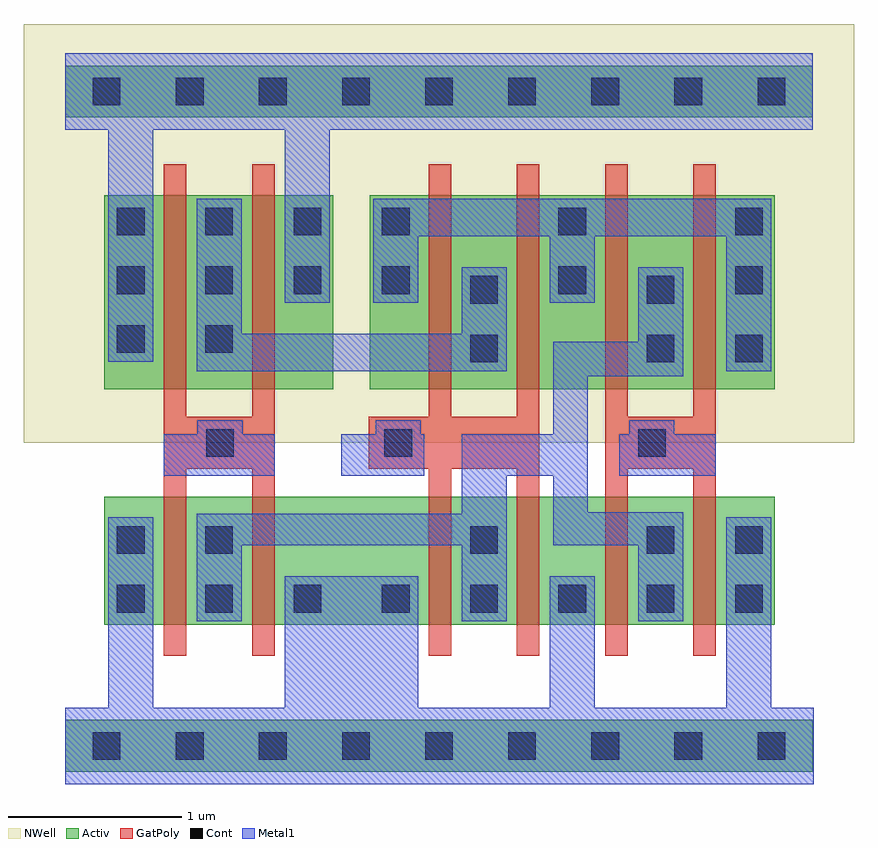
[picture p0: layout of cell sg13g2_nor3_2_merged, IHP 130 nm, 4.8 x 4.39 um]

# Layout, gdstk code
import gdstk
lib = gdstk.Library(unit=1e-6, precision=1e-09)
def R(c, l, rs):  # rectangles x0, y0, x1, y1
    for r in rs: c.add(gdstk.rectangle(r[:2], r[2:], *l))
def A(c, l, x, y, w, h, nx, ny, dx, dy):  # array of equal rectangles
    R(c, l, [(x+i*dx, y+j*dy, x+i*dx+w, y+j*dy+h) for i in range(nx) for j in range(ny)])
def P(c, l, *ps):  # polygons
    for p in ps: c.add(gdstk.Polygon(p, *l))
Activ = (1, 0)
GatPoly = (5, 0)
Cont = (6, 0)
Metal1 = (8, 0)
NWell = (31, 0)

sg13g2_nor3_2_merged = lib.new_cell('sg13g2_nor3_2_merged')
R(sg13g2_nor3_2_merged, Activ, [(0,-0.15,4.32,0.15), (0.225,0.7,4.1,1.44), (0.225,2.06,1.55,3.18), (1.76,2.06,4.1,3.18), (0,3.63,4.32,3.93)])
P(sg13g2_nor3_2_merged, GatPoly, [(0.57,0.52),(0.57,3.36),(0.7,3.36),(0.7,1.9),(1.08,1.9),(1.08,3.36),(1.21,3.36),(1.21,0.52),(1.08,0.52),(1.08,1.6),(0.7,1.6),(0.7,0.52)],
  [(2.1,0.52),(2.1,1.6),(1.755,1.6),(1.755,1.9),(2.1,1.9),(2.1,3.36),(2.23,3.36),(2.23,1.9),(2.61,1.9),(2.61,3.36),(2.74,3.36),(2.74,0.52),(2.61,0.52),(2.61,1.6),(2.23,1.6),(2.23,0.52)],
  [(3.12,0.52),(3.12,3.36),(3.25,3.36),(3.25,1.9),(3.63,1.9),(3.63,3.36),(3.76,3.36),(3.76,0.52),(3.63,0.52),(3.63,1.6),(3.25,1.6),(3.25,0.52)])
A(sg13g2_nor3_2_merged, Cont, 0.16, -0.08, 0.16, 0.16, 9, 2, 0.48, 3.78)
A(sg13g2_nor3_2_merged, Cont, 0.3, 0.77, 0.16, 0.16, 8, 1, 0.51, 0)
A(sg13g2_nor3_2_merged, Cont, 0.3, 2.61, 0.16, 0.16, 4, 2, 0.51, 0.34)
R(sg13g2_nor3_2_merged, Cont, [(0.3,1.11,0.46,1.27), (0.81,1.11,0.97,1.27), (2.34,1.11,2.5,1.27), (3.36,1.11,3.52,1.27), (3.87,1.11,4.03,1.27), (0.815,1.67,0.975,1.83), (1.845,1.67,2.005,1.83), (3.31,1.67,3.47,1.83), (2.34,2.215,2.5,2.375), (3.36,2.215,3.52,2.375), (3.87,2.215,4.03,2.375), (0.3,2.27,0.46,2.43), (0.81,2.27,0.97,2.43), (2.34,2.555,2.5,2.715), (3.36,2.555,3.52,2.715), (2.85,2.61,3.01,2.77), (3.87,2.61,4.03,2.77), (2.85,2.95,3.01,3.11), (3.87,2.95,4.03,3.11)])
P(sg13g2_nor3_2_merged, Metal1, [(0,-0.22),(0,0.22),(0.25,0.22),(0.25,1.32),(0.51,1.32),(0.51,0.22),(1.27,0.22),(1.27,0.98),(2.04,0.98),(2.04,0.22),(2.8,0.22),(2.8,0.98),(3.06,0.98),(3.06,0.22),(3.82,0.22),(3.82,1.32),(4.08,1.32),(4.08,0.22),(4.325,0.22),(4.325,-0.22)],
  [(0.57,1.56),(0.57,1.8),(0.765,1.8),(0.765,1.88),(1.025,1.88),(1.025,1.8),(1.21,1.8),(1.21,1.56)],
  [(1.595,1.56),(1.595,1.8),(1.795,1.8),(1.795,1.88),(2.055,1.88),(2.055,1.8),(2.075,1.8),(2.075,1.56)],
  [(3.2,1.56),(3.2,1.8),(3.26,1.8),(3.26,1.88),(3.52,1.88),(3.52,1.8),(3.76,1.8),(3.76,1.56)],
  [(0.76,0.72),(0.76,1.34),(2.29,1.34),(2.29,1.8),(2.82,1.8),(2.82,2.335),(3.31,2.335),(3.31,2.765),(3.57,2.765),(3.57,2.135),(3.02,2.135),(3.02,1.35),(3.57,1.35),(3.57,0.72),(3.31,0.72),(3.31,1.16),(2.82,1.16),(2.82,1.56),(2.55,1.56),(2.55,0.72),(2.29,0.72),(2.29,1.16),(1.02,1.16),(1.02,0.72)],
  [(0.76,2.165),(0.76,3.16),(1.02,3.16),(1.02,2.38),(2.29,2.38),(2.29,2.765),(2.55,2.765),(2.55,2.165)],
  [(3.82,2.165),(3.82,2.945),(3.06,2.945),(3.06,2.56),(2.8,2.56),(2.8,2.945),(2.04,2.945),(2.04,2.56),(1.78,2.56),(1.78,3.16),(4.08,3.16),(4.08,2.165)],
  [(0.25,2.22),(0.25,3.56),(0,3.56),(0,4),(4.32,4),(4.32,3.56),(1.53,3.56),(1.53,2.56),(1.27,2.56),(1.27,3.56),(0.51,3.56),(0.51,2.22)])
R(sg13g2_nor3_2_merged, NWell, [(-0.24,1.75,4.56,4.17)])

lib.write_gds('sg13g2_nor3_2_merged.gds')
